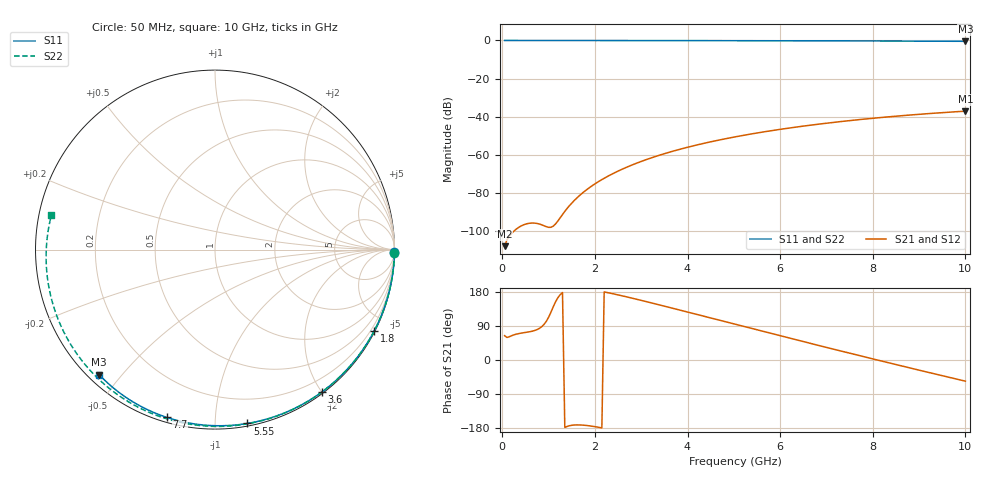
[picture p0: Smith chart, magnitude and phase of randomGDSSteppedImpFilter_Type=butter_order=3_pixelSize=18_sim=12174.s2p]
! freq	dB(S11)	phase(S11)	dB(S12)	phase(S12)
!  dB(S21)	phase(S21)	dB(S22)	phase(S22)
!S-par simulation data
#  GHz  S  DB  R 50
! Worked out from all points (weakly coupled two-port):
!   200 points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, 50 MHz to 10 GHz, reference 50 ohm
!   highest |S21| = -37.08 dB at 10 GHz (marker M1); lowest = -107.9 dB at 50 MHz (marker M2)
!   lowest |S11| = -0.4 dB at 10 GHz (marker M3), VSWR 38.83, Z = 1.53 - j21.8 ohm
!   |S11| at or under -10 dB: nowhere
!   |S22| runs from -0.6 to 0.0 dB; largest |S21 - S12| = 0
!   S11 on the Smith chart (normalised r, x): 50 MHz: open; 1.8 GHz: 0.04, -4.13; 3.6 GHz: 0.02, -2.00; 5.55 GHz: 0.02, -1.20; 7.7 GHz: 0.02, -0.75; 10 GHz: 0.03, -0.44
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0.05  -0.00 -0.8  -107.88 64.2  -107.88 64.2  -0.00 -1.1
0.45  -0.01 -6.9  -96.78 71.7  -96.78 71.7  -0.01 -9.6
0.85  -0.02 -13.0  -96.66 87.7  -96.66 87.7  -0.02 -18.0
1.25  -0.02 -19.0  -92.97 172.3  -92.97 172.3  -0.03 -26.3
1.7  -0.03 -25.7  -80.63 -171.5  -80.63 -171.5  -0.05 -35.6
1.75  -0.03 -26.5  -79.62 -171.9  -79.62 -171.9  -0.05 -36.6
1.8  -0.03 -27.2  -78.66 -172.5  -78.66 -172.5  -0.05 -37.6
2.1  -0.04 -31.7  -73.69 -178.0  -73.69 -178.0  -0.06 -43.7
2.5  -0.05 -37.5  -68.50 171.8  -68.50 171.8  -0.07 -51.7
2.9  -0.06 -43.3  -64.35 160.4  -64.35 160.4  -0.08 -59.6
3.4  -0.07 -50.4  -60.12 145.2  -60.12 145.2  -0.09 -69.3
3.6  -0.07 -53.2  -58.65 139.0  -58.65 139.0  -0.10 -73.1
4.3  -0.09 -62.9  -54.24 117.1  -54.24 117.1  -0.12 -86.2
5.05  -0.11 -72.9  -50.45 93.5  -50.45 93.5  -0.15 -99.9
5.55  -0.13 -79.5  -48.32 77.9  -48.32 77.9  -0.18 -108.9
6.1  -0.15 -86.5  -46.26 60.8  -46.26 60.8  -0.21 -118.6
6.7  -0.18 -94.0  -44.29 42.4  -44.29 42.4  -0.25 -129.2
7.7  -0.24 -106.1  -41.53 11.9  -41.53 11.9  -0.34 -147.1
8.35  -0.29 -113.8  -40.03 -7.6  -40.03 -7.6  -0.40 -159.0
9.2  -0.36 -123.6  -38.37 -32.7  -38.37 -32.7  -0.51 -175.4
9.6  -0.40 -128.2  -37.69 -44.3  -37.69 -44.3  -0.56 176.5
10  -0.45 -132.8  -37.08 -55.9  -37.08 -55.9  -0.62 168.0
